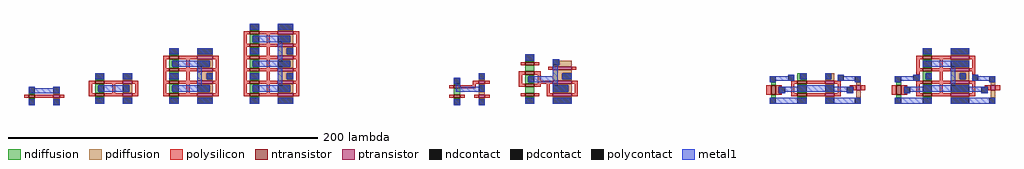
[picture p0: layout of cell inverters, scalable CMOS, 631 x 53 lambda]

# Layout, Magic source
magic
tech scmos
use s_inv s_inv_0
transform 1 0 -87 0 1 -413
box 77 432 103 444
use m_inv m_inv_0
transform 1 0 -62 0 1 -530
box 94 549 126 571
use l_inv l_inv_0
transform 1 0 -330 0 1 -419
box 410 438 446 476
use h_inv h_inv_0
transform 1 0 85 0 1 23
box 47 -4 83 50
use s_inv_rhi s_inv_rhi_0
transform 1 0 276 0 1 -26
box -11 45 15 66
use m_inv_rhi m_inv_rhi_0
transform 1 0 221 0 1 -1
box 89 20 127 54
use m_inv_staticizer m_inv_staticizer_0
transform 1 0 372 0 1 -47
box 97 66 163 88
use l_inv_staticizer l_inv_staticizer_0
transform 1 0 461 0 1 -41
box 89 60 161 98
<< end >>

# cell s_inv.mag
magic
tech scmos
<< ndiffusion >>
rect 80 439 84 440
rect 80 436 84 437
<< pdiffusion >>
rect 96 439 100 440
rect 96 436 100 437
<< ntransistor >>
rect 80 437 84 439
<< ptransistor >>
rect 96 437 100 439
<< polysilicon >>
rect 77 437 80 439
rect 84 437 96 439
rect 100 437 103 439
<< ndcontact >>
rect 80 440 84 444
rect 80 432 84 436
<< pdcontact >>
rect 96 440 100 444
rect 96 432 100 436
<< metal1 >>
rect 80 443 84 444
rect 96 443 100 444
rect 80 440 100 443
rect 80 432 84 436
rect 96 432 100 436
<< labels >>
rlabel polysilicon 79 438 79 438 3 a
rlabel polysilicon 101 438 101 438 7 a
rlabel space 77 432 80 444 7 ^n
rlabel space 100 432 103 444 3 ^p
rlabel ndcontact 82 434 82 434 2 GND!
rlabel pdcontact 98 434 98 434 8 Vdd!
rlabel ndcontact 82 442 82 442 4 x
rlabel pdcontact 98 442 98 442 6 x
<< end >>

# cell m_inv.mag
magic
tech scmos
<< ndiffusion >>
rect 98 565 104 566
rect 98 562 104 563
rect 98 558 100 562
rect 98 557 104 558
rect 98 554 104 555
<< pdiffusion >>
rect 116 565 122 566
rect 116 562 122 563
rect 120 558 122 562
rect 116 557 122 558
rect 116 554 122 555
<< ntransistor >>
rect 98 563 104 565
rect 98 555 104 557
<< ptransistor >>
rect 116 563 122 565
rect 116 555 122 557
<< polysilicon >>
rect 94 563 98 565
rect 104 563 116 565
rect 122 563 126 565
rect 94 557 96 563
rect 109 557 111 563
rect 124 557 126 563
rect 94 555 98 557
rect 104 555 116 557
rect 122 555 126 557
<< ndcontact >>
rect 98 566 104 570
rect 100 558 104 562
rect 98 550 104 554
<< pdcontact >>
rect 116 566 122 570
rect 116 558 120 562
rect 116 550 122 554
<< metal1 >>
rect 98 566 104 570
rect 116 566 122 570
rect 100 558 120 562
rect 98 550 104 554
rect 116 550 122 554
<< labels >>
rlabel space 94 549 101 571 7 ^n
rlabel space 119 549 126 571 3 ^p
rlabel polysilicon 95 560 95 560 3 a
rlabel polysilicon 125 560 125 560 7 a
rlabel ndcontact 102 560 102 560 1 x
rlabel pdcontact 118 560 118 560 1 x
rlabel ndcontact 102 552 102 552 1 GND!
rlabel ndcontact 102 568 102 568 5 GND!
rlabel pdcontact 118 568 118 568 5 Vdd!
rlabel pdcontact 118 552 118 552 1 Vdd!
<< end >>

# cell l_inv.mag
magic
tech scmos
<< ndiffusion >>
rect 414 470 420 471
rect 414 467 420 468
rect 414 463 416 467
rect 414 462 420 463
rect 414 459 420 460
rect 414 454 420 455
rect 414 451 420 452
rect 414 447 416 451
rect 414 446 420 447
rect 414 443 420 444
<< pdiffusion >>
rect 432 470 442 471
rect 432 467 442 468
rect 440 463 442 467
rect 432 462 442 463
rect 432 459 442 460
rect 432 455 438 459
rect 432 454 442 455
rect 432 451 442 452
rect 440 447 442 451
rect 432 446 442 447
rect 432 443 442 444
<< ntransistor >>
rect 414 468 420 470
rect 414 460 420 462
rect 414 452 420 454
rect 414 444 420 446
<< ptransistor >>
rect 432 468 442 470
rect 432 460 442 462
rect 432 452 442 454
rect 432 444 442 446
<< polysilicon >>
rect 410 468 414 470
rect 420 468 432 470
rect 442 468 446 470
rect 410 462 412 468
rect 425 462 427 468
rect 444 462 446 468
rect 410 460 414 462
rect 420 460 432 462
rect 442 460 446 462
rect 410 454 412 460
rect 425 454 427 460
rect 444 454 446 460
rect 410 452 414 454
rect 420 452 432 454
rect 442 452 446 454
rect 410 446 412 452
rect 425 446 427 452
rect 444 446 446 452
rect 410 444 414 446
rect 420 444 432 446
rect 442 444 446 446
<< ndcontact >>
rect 414 471 420 475
rect 416 463 420 467
rect 414 455 420 459
rect 416 447 420 451
rect 414 439 420 443
<< pdcontact >>
rect 432 471 442 475
rect 432 463 440 467
rect 438 455 442 459
rect 432 447 440 451
rect 432 439 442 443
<< metal1 >>
rect 414 471 420 475
rect 432 471 442 475
rect 416 463 440 467
rect 414 455 420 459
rect 432 451 435 463
rect 438 455 442 459
rect 416 447 440 451
rect 414 439 420 443
rect 432 439 442 443
<< labels >>
rlabel space 410 438 417 476 7 ^n
rlabel space 439 438 446 476 3 ^p
rlabel polysilicon 411 457 411 457 3 a
rlabel polysilicon 445 457 445 457 7 a
rlabel ndcontact 418 449 418 449 1 x
rlabel ndcontact 418 465 418 465 1 x
rlabel ndcontact 418 441 418 441 1 GND!
rlabel ndcontact 418 457 418 457 5 GND!
rlabel ndcontact 418 473 418 473 5 GND!
rlabel pdcontact 438 465 438 465 1 x
rlabel pdcontact 438 449 438 449 1 x
rlabel pdcontact 440 457 440 457 5 Vdd!
rlabel pdcontact 440 441 440 441 1 Vdd!
rlabel pdcontact 440 473 440 473 5 Vdd!
<< end >>

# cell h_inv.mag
magic
tech scmos
<< ndiffusion >>
rect 51 44 57 45
rect 51 41 57 42
rect 51 37 53 41
rect 51 36 57 37
rect 51 33 57 34
rect 51 28 57 29
rect 51 25 57 26
rect 51 21 53 25
rect 51 20 57 21
rect 51 17 57 18
rect 51 12 57 13
rect 51 9 57 10
rect 51 5 53 9
rect 51 4 57 5
rect 51 1 57 2
<< pdiffusion >>
rect 69 44 79 45
rect 69 41 79 42
rect 77 37 79 41
rect 69 36 79 37
rect 69 33 79 34
rect 69 29 75 33
rect 69 28 79 29
rect 69 25 79 26
rect 77 21 79 25
rect 69 20 79 21
rect 69 17 79 18
rect 69 13 75 17
rect 69 12 79 13
rect 69 9 79 10
rect 77 5 79 9
rect 69 4 79 5
rect 69 1 79 2
<< ntransistor >>
rect 51 42 57 44
rect 51 34 57 36
rect 51 26 57 28
rect 51 18 57 20
rect 51 10 57 12
rect 51 2 57 4
<< ptransistor >>
rect 69 42 79 44
rect 69 34 79 36
rect 69 26 79 28
rect 69 18 79 20
rect 69 10 79 12
rect 69 2 79 4
<< polysilicon >>
rect 47 42 51 44
rect 57 42 69 44
rect 79 42 83 44
rect 47 36 49 42
rect 62 36 64 42
rect 81 36 83 42
rect 47 34 51 36
rect 57 34 69 36
rect 79 34 83 36
rect 47 28 49 34
rect 62 28 64 34
rect 81 28 83 34
rect 47 26 51 28
rect 57 26 69 28
rect 79 26 83 28
rect 47 20 49 26
rect 62 20 64 26
rect 81 20 83 26
rect 47 18 51 20
rect 57 18 69 20
rect 79 18 83 20
rect 47 12 49 18
rect 62 12 64 18
rect 81 12 83 18
rect 47 10 51 12
rect 57 10 69 12
rect 79 10 83 12
rect 47 4 49 10
rect 62 4 64 10
rect 81 4 83 10
rect 47 2 51 4
rect 57 2 69 4
rect 79 2 83 4
<< ndcontact >>
rect 51 45 57 49
rect 53 37 57 41
rect 51 29 57 33
rect 53 21 57 25
rect 51 13 57 17
rect 53 5 57 9
rect 51 -3 57 1
<< pdcontact >>
rect 69 45 79 49
rect 69 37 77 41
rect 75 29 79 33
rect 69 21 77 25
rect 75 13 79 17
rect 69 5 77 9
rect 69 -3 79 1
<< metal1 >>
rect 51 45 57 49
rect 69 45 79 49
rect 53 37 77 41
rect 51 29 57 33
rect 69 25 72 37
rect 75 29 79 33
rect 53 21 77 25
rect 51 13 57 17
rect 69 9 72 21
rect 75 13 79 17
rect 53 5 77 9
rect 51 -3 57 1
rect 69 -3 79 1
<< labels >>
rlabel space 47 -4 54 50 7 ^n
rlabel space 76 -4 83 50 3 ^p
rlabel polysilicon 48 3 48 3 3 a
rlabel polysilicon 48 43 48 43 3 a
rlabel polysilicon 82 3 82 3 7 a
rlabel polysilicon 82 43 82 43 7 a
rlabel ndcontact 55 15 55 15 5 GND!
rlabel ndcontact 55 -1 55 -1 1 GND!
rlabel ndcontact 55 23 55 23 1 x
rlabel ndcontact 55 7 55 7 1 x
rlabel ndcontact 55 31 55 31 5 GND!
rlabel ndcontact 55 47 55 47 5 GND!
rlabel ndcontact 55 39 55 39 1 x
rlabel pdcontact 71 23 71 23 1 x
rlabel pdcontact 71 39 71 39 1 x
rlabel pdcontact 71 7 71 7 1 x
rlabel pdcontact 77 15 77 15 5 Vdd!
rlabel pdcontact 77 31 77 31 5 Vdd!
rlabel pdcontact 77 -1 77 -1 1 Vdd!
rlabel pdcontact 77 47 77 47 5 Vdd!
<< end >>

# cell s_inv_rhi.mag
magic
tech scmos
<< ndiffusion >>
rect -8 58 -4 59
rect -8 52 -4 56
rect -8 49 -4 50
<< pdiffusion >>
rect 8 61 12 62
rect 8 58 12 59
rect 8 52 12 54
rect 8 49 12 50
<< ntransistor >>
rect -8 56 -4 58
rect -8 50 -4 52
<< ptransistor >>
rect 8 59 12 61
rect 8 50 12 52
<< polysilicon >>
rect 4 59 8 61
rect 12 59 15 61
rect 4 58 6 59
rect -11 56 -8 58
rect -4 56 6 58
rect -11 50 -8 52
rect -4 50 -1 52
rect 5 50 8 52
rect 12 50 15 52
<< ndcontact >>
rect -8 59 -4 63
rect -8 45 -4 49
<< pdcontact >>
rect 8 62 12 66
rect 8 54 12 58
rect 8 45 12 49
<< metal1 >>
rect -8 59 -4 63
rect 8 62 12 66
rect -7 57 -4 59
rect 8 57 12 58
rect -7 54 12 57
rect -8 45 -4 49
rect 8 45 12 49
<< labels >>
rlabel polysilicon -9 51 -9 51 3 _SReset!
rlabel polysilicon -9 57 -9 57 3 a
rlabel polysilicon 13 51 13 51 1 _PReset!
rlabel space -11 45 -8 63 7 ^n
rlabel polysilicon 13 60 13 60 7 a
rlabel space 12 56 15 66 3 ^p
rlabel pdcontact 10 47 10 47 5 Vdd!
rlabel ndcontact -6 61 -6 61 4 x
rlabel ndcontact -6 47 -6 47 5 GND!
rlabel pdcontact 10 64 10 64 5 Vdd!
rlabel pdcontact 10 56 10 56 7 x
<< end >>

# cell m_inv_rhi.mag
magic
tech scmos
<< ndiffusion >>
rect 93 48 99 49
rect 93 42 99 46
rect 93 39 99 40
rect 93 35 95 39
rect 93 34 99 35
rect 93 28 99 32
rect 93 25 99 26
<< pdiffusion >>
rect 115 46 123 49
rect 111 45 123 46
rect 111 41 123 43
rect 111 37 117 41
rect 111 36 123 37
rect 111 33 123 34
rect 121 29 123 33
rect 111 28 123 29
rect 111 25 123 26
<< ntransistor >>
rect 93 46 99 48
rect 93 40 99 42
rect 93 32 99 34
rect 93 26 99 28
<< ptransistor >>
rect 111 43 123 45
rect 111 34 123 36
rect 111 26 123 28
<< polysilicon >>
rect 90 46 93 48
rect 99 46 102 48
rect 108 43 111 45
rect 123 43 126 45
rect 89 40 93 42
rect 99 40 103 42
rect 89 34 91 40
rect 101 36 103 40
rect 101 34 111 36
rect 123 34 127 36
rect 89 32 93 34
rect 99 32 103 34
rect 107 28 109 34
rect 125 28 127 34
rect 90 26 93 28
rect 99 26 102 28
rect 107 26 111 28
rect 123 26 127 28
<< ndcontact >>
rect 93 49 99 53
rect 95 35 99 39
rect 93 21 99 25
<< pdcontact >>
rect 111 46 115 50
rect 117 37 123 41
rect 111 29 121 33
rect 111 21 123 25
<< metal1 >>
rect 93 49 99 53
rect 111 46 115 50
rect 111 39 114 46
rect 95 35 114 39
rect 117 37 123 41
rect 111 33 114 35
rect 111 29 121 33
rect 93 21 99 25
rect 111 21 123 25
<< labels >>
rlabel polysilicon 92 27 92 27 3 _SReset!
rlabel polysilicon 92 47 92 47 3 _SReset!
rlabel space 89 20 96 54 7 ^n
rlabel space 119 20 127 40 3 ^p
rlabel polysilicon 90 37 90 37 3 a
rlabel polysilicon 126 31 126 31 7 a
rlabel polysilicon 124 44 124 44 1 _PReset!
rlabel ndcontact 97 37 97 37 1 x
rlabel ndcontact 97 23 97 23 1 GND!
rlabel ndcontact 97 51 97 51 5 GND!
rlabel pdcontact 113 31 113 31 1 x
rlabel pdcontact 120 39 120 39 5 Vdd!
rlabel pdcontact 120 23 120 23 1 Vdd!
rlabel pdcontact 113 48 113 48 5 x
<< end >>

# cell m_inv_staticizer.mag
magic
tech scmos
<< ndiffusion >>
rect 118 83 120 87
rect 118 82 124 83
rect 101 79 104 81
rect 118 79 124 80
rect 118 74 124 75
rect 101 71 104 73
rect 118 71 124 72
<< pdiffusion >>
rect 140 83 142 87
rect 136 82 142 83
rect 136 79 142 80
rect 136 74 142 75
rect 156 79 159 81
rect 136 71 142 72
rect 156 71 159 76
<< ntransistor >>
rect 118 80 124 82
rect 101 73 104 79
rect 118 72 124 74
<< ptransistor >>
rect 136 80 142 82
rect 156 76 159 79
rect 136 72 142 74
<< polysilicon >>
rect 114 80 118 82
rect 124 80 136 82
rect 142 80 146 82
rect 98 73 101 79
rect 104 78 108 79
rect 104 74 106 78
rect 114 74 116 80
rect 144 74 146 80
rect 152 78 156 79
rect 154 76 156 78
rect 159 76 162 79
rect 104 73 108 74
rect 114 72 118 74
rect 124 72 136 74
rect 142 72 146 74
<< ndcontact >>
rect 100 81 104 85
rect 120 83 124 87
rect 118 75 124 79
rect 100 67 104 71
rect 118 67 124 71
<< pdcontact >>
rect 136 83 140 87
rect 155 81 159 85
rect 136 75 142 79
rect 136 67 142 71
rect 155 67 159 71
<< polycontact >>
rect 112 82 116 86
rect 144 82 148 86
rect 106 74 110 78
rect 150 74 154 78
<< metal1 >>
rect 112 85 116 86
rect 100 82 116 85
rect 120 83 124 87
rect 136 83 140 87
rect 144 85 148 86
rect 144 82 159 85
rect 100 81 104 82
rect 155 81 159 82
rect 118 78 142 79
rect 106 75 154 78
rect 106 74 110 75
rect 150 74 154 75
rect 100 67 124 71
rect 136 67 159 71
<< labels >>
rlabel space 97 66 121 88 7 ^n
rlabel space 139 66 163 88 3 ^p
rlabel ndcontact 122 69 122 69 1 GND!
rlabel ndcontact 122 85 122 85 5 GND!
rlabel ndcontact 122 77 122 77 1 x
rlabel pdcontact 138 85 138 85 5 Vdd!
rlabel pdcontact 138 69 138 69 1 Vdd!
rlabel pdcontact 138 77 138 77 1 x
rlabel ndcontact 102 69 102 69 1 GND!
rlabel ndcontact 102 83 102 83 5 _x
rlabel pdcontact 157 83 157 83 4 _x
rlabel pdcontact 157 69 157 69 1 Vdd!
<< end >>

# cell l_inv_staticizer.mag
magic
tech scmos
<< ndiffusion >>
rect 110 92 116 93
rect 110 89 116 90
rect 110 84 116 85
rect 110 81 116 82
rect 110 77 112 81
rect 110 76 116 77
rect 93 73 96 75
rect 110 73 116 74
rect 110 68 116 69
rect 93 65 96 67
rect 110 65 116 66
<< pdiffusion >>
rect 128 92 140 93
rect 128 89 140 90
rect 128 84 140 85
rect 128 81 140 82
rect 128 77 134 81
rect 138 77 140 81
rect 128 76 140 77
rect 128 73 140 74
rect 128 68 140 69
rect 154 73 157 75
rect 128 65 140 66
rect 154 65 157 70
<< ntransistor >>
rect 110 90 116 92
rect 110 82 116 84
rect 110 74 116 76
rect 93 67 96 73
rect 110 66 116 68
<< ptransistor >>
rect 128 90 140 92
rect 128 82 140 84
rect 128 74 140 76
rect 154 70 157 73
rect 128 66 140 68
<< polysilicon >>
rect 106 90 110 92
rect 116 90 128 92
rect 140 90 144 92
rect 106 84 108 90
rect 121 84 123 90
rect 142 84 144 90
rect 106 82 110 84
rect 116 82 128 84
rect 140 82 144 84
rect 106 80 108 82
rect 121 76 123 82
rect 142 80 144 82
rect 106 74 110 76
rect 116 74 128 76
rect 140 74 144 76
rect 90 67 93 73
rect 96 72 100 73
rect 96 68 98 72
rect 106 68 108 74
rect 121 68 123 74
rect 142 68 144 74
rect 150 72 154 73
rect 152 70 154 72
rect 157 70 160 73
rect 96 67 100 68
rect 106 66 110 68
rect 116 66 128 68
rect 140 66 144 68
<< ndcontact >>
rect 110 93 116 97
rect 110 85 116 89
rect 92 75 96 79
rect 112 77 116 81
rect 110 69 116 73
rect 92 61 96 65
rect 110 61 116 65
<< pdcontact >>
rect 128 93 140 97
rect 128 85 140 89
rect 134 77 138 81
rect 153 75 157 79
rect 128 69 140 73
rect 128 61 140 65
rect 153 61 157 65
<< polycontact >>
rect 104 76 108 80
rect 142 76 146 80
rect 98 68 102 72
rect 148 68 152 72
<< metal1 >>
rect 110 93 116 97
rect 128 93 140 97
rect 110 85 140 89
rect 104 79 108 80
rect 92 76 108 79
rect 112 77 116 81
rect 92 75 96 76
rect 128 73 131 85
rect 134 77 138 81
rect 142 79 146 80
rect 142 76 157 79
rect 153 75 157 76
rect 110 72 140 73
rect 98 69 152 72
rect 98 68 102 69
rect 148 68 152 69
rect 92 61 116 65
rect 128 61 157 65
<< labels >>
rlabel space 89 60 111 98 7 ^n
rlabel space 139 60 161 98 3 ^p
rlabel ndcontact 114 71 114 71 1 x
rlabel ndcontact 114 87 114 87 1 x
rlabel ndcontact 114 63 114 63 1 GND!
rlabel ndcontact 114 79 114 79 5 GND!
rlabel ndcontact 114 95 114 95 5 GND!
rlabel pdcontact 134 87 134 87 1 x
rlabel pdcontact 134 71 134 71 1 x
rlabel pdcontact 136 79 136 79 5 Vdd!
rlabel pdcontact 136 63 136 63 1 Vdd!
rlabel pdcontact 136 95 136 95 5 Vdd!
rlabel ndcontact 94 63 94 63 1 GND!
rlabel ndcontact 94 77 94 77 5 _x
rlabel pdcontact 155 77 155 77 4 _x
rlabel metal1 155 63 155 63 1 Vdd!
<< end >>
